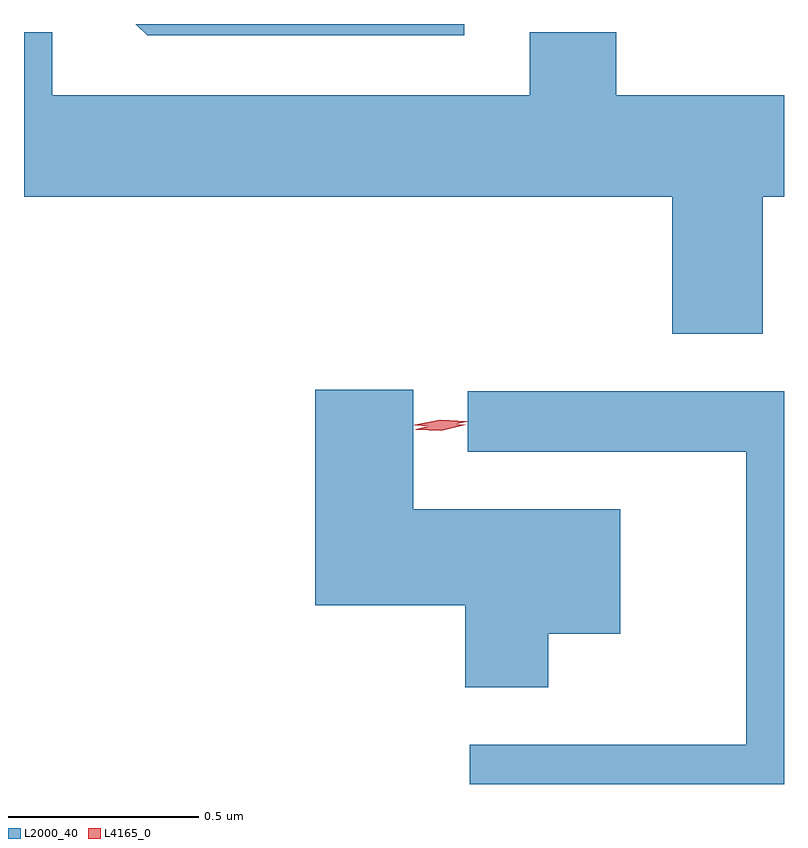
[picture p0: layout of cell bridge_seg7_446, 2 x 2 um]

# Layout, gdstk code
import gdstk
lib = gdstk.Library(unit=1e-6, precision=1e-09)
def P(c, l, *ps):  # polygons
    for p in ps: c.add(gdstk.Polygon(p, *l))
L2000_40 = (2000, 40)
L4165_0 = (4165, 0)

bridge_seg7_446 = lib.new_cell('bridge_seg7_446')
P(bridge_seg7_446, L2000_40, [(1124.749,1714.771),(1123.884,1714.771),(1123.914,1714.741),(1124.749,1714.741)],
  [(1125.534,1714.316),(1125.59,1714.316),(1125.59,1714.584),(1125.149,1714.584),(1125.149,1714.749),(1124.921,1714.749),(1124.921,1714.584),(1123.664,1714.584),(1123.664,1714.749),(1123.59,1714.749),(1123.59,1714.316),(1125.296,1714.316),(1125.296,1713.956),(1125.534,1713.956)],
  [(1124.969,1713.166),(1125.159,1713.166),(1125.159,1713.494),(1124.614,1713.494),(1124.614,1713.809),(1124.356,1713.809),(1124.356,1713.241),(1124.751,1713.241),(1124.751,1713.026),(1124.969,1713.026)],
  [(1125.59,1713.804),(1124.758,1713.804),(1124.758,1713.646),(1125.491,1713.646),(1125.491,1712.874),(1124.763,1712.874),(1124.763,1712.771),(1125.59,1712.771)])
P(bridge_seg7_446, L4165_0, [(1124.687,1713.71),(1124.618,1713.715),(1124.617,1713.716),(1124.618,1713.716),(1124.686,1713.73),(1124.755,1713.725),(1124.756,1713.724),(1124.755,1713.724)],
  [(1124.688,1713.7),(1124.621,1713.703),(1124.621,1713.704),(1124.621,1713.704),(1124.686,1713.72),(1124.752,1713.717),(1124.753,1713.716),(1124.752,1713.716)])

lib.write_gds('bridge_seg7_446.gds')
